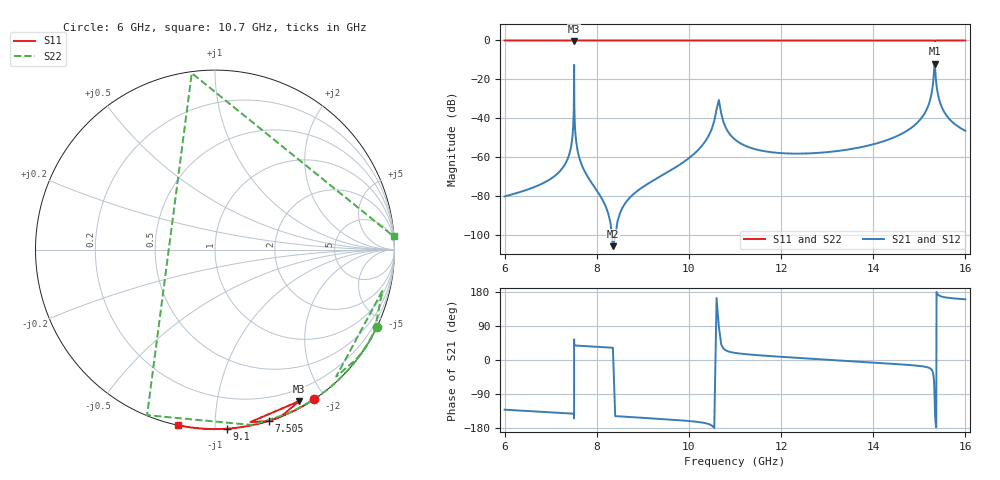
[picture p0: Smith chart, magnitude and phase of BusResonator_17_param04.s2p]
! Sonnet Data File
! From: emgraph Version : 16.54
! From Project: BusResonator_17
! Data is De-embedded
! Data File Written: 08/31/2017 18:33:07
!< HDATE 08/31/2017 16:58:22
!< MDATE 08/31/2017 17:03:00
!< PARAMS
!< BusLengthControl = 1600.0
!< END PARAMS
# GHZ S MA R 50.00000
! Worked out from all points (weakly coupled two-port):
!   1395 points, 6 GHz to 16 GHz, reference 50 ohm
!   highest |S21| = -11.99 dB at 15.33 GHz (marker M1); lowest = -105.9 dB at 8.35 GHz (marker M2)
!   lowest |S11| = -0.3 dB at 7.508 GHz (marker M3), VSWR 57.42, Z = 3.38 - j84.7 ohm
!   |S11| at or under -10 dB: nowhere
!   |S22| runs from -0.3 to 0.0 dB; largest |S21 - S12| = 0
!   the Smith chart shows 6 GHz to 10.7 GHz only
!   S11 on the Smith chart (normalised r, x): 6 GHz: 0.00, -1.86; 7.505 GHz: 0.00, -1.36; 9.1 GHz: 0.00, -1.07; 10.7 GHz: 0.00, -0.81
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6  1 -56.5  9.71e-05 -131.1  9.71e-05 -131.1  1 -25.7
!< P1 F=6.0 Eeff=(6.44857038 -2.9736e-5) Z0=(51.7893065 1.19468e-4) R=0.05083541 C=0.00240605
!< P2 F=6.0 Eeff=(6.44857038 -2.9736e-5) Z0=(51.7893065 1.19468e-4) R=0.05083541 C=0.00240605
7.25  1 -68.5  0.0005078 -139.9  0.0005078 -139.9  1 -31.3
7.448247  1 -70.4  0.002029 -141.4  0.002029 -141.4  1 -32.3
7.488261  1 -71.0  0.006074 -142.0  0.006074 -142.0  1 -32.8
7.504735  0.9991 -72.6  0.03932 -144.4  0.03932 -144.4  0.9989 -35.5
7.508186  0.9658 -61.0  0.2352 54.6  0.2352 54.6  0.9605 -13.8
7.547682  1 -71.2  0.002855 38.2  0.002855 38.2  1 -32.4
7.668711  1 -72.5  0.0006502 37.2  0.0006502 37.2  1 -33.1
8.35  1 -79.0  5.094e-06 32.3  5.094e-06 32.3  1 -36.4
9.1  1 -86.3  0.0002026 -153.3  0.0002026 -153.3  1 -40.3
9.35  1 -88.7  0.000304 -155.2  0.000304 -155.2  1 -41.8
10.7  0.9999 -101.8  0.01337 41.3  0.01337 41.3  0.9984 4.2
11  1 -104.8  0.002821 18.7  0.002821 18.7  1 -37.8
12.7  1 -121.5  0.001258 3.0  0.001258 3.0  1 -52.5
14.35  1 -137.9  0.002873 -9.6  0.002873 -9.6  1 -61.2
15  1 -144.4  0.008653 -15.6  0.008653 -15.6  1 -66.8
15.28062  0.9985 -147.5  0.0549 -28.3  0.0549 -28.3  0.9982 -89.0
15.30276  0.9958 -148.0  0.09118 -37.1  0.09118 -37.1  0.9951 -106.1
15.33294  0.9677 -147.6  0.2516 -106.6  0.2516 -106.6  0.9621 114.5
15.37389  0.9976 -147.6  0.06931 179.6  0.06931 179.6  0.9972 -33.3
15.6  0.9999 -150.2  0.01131 164.5  0.01131 164.5  0.9999 -60.7
16  1 -154.3  0.004744 160.1  0.004744 160.1  1 -65.5
